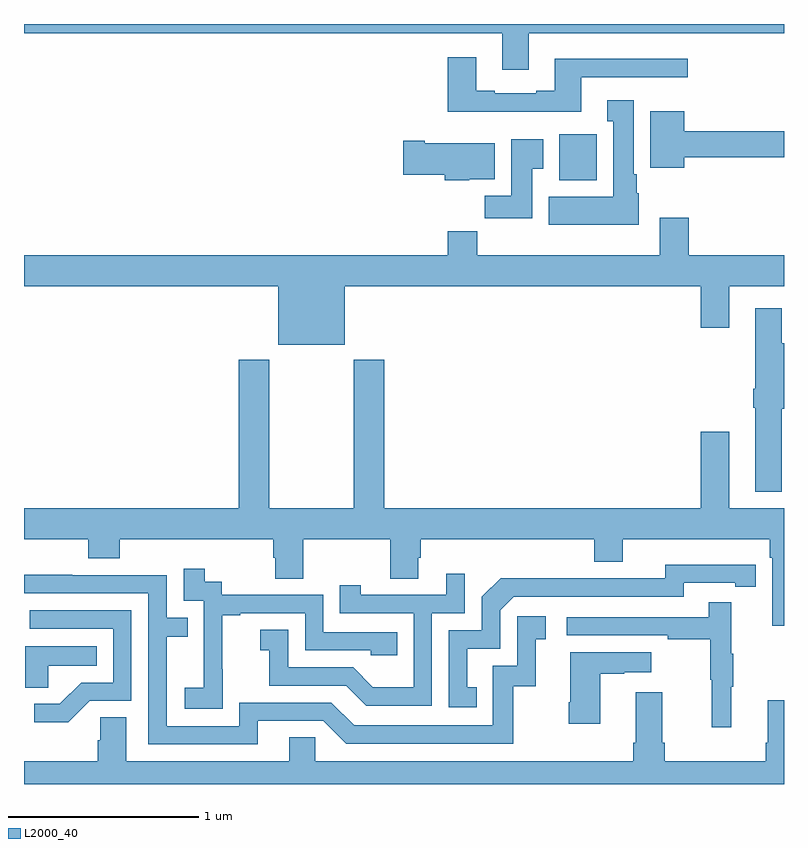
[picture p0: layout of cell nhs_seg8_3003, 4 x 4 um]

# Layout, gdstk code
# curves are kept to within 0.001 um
import gdstk
lib = gdstk.Library(unit=1e-6, precision=1e-09)
def R(c, l, rs):  # rectangles x0, y0, x1, y1
    for r in rs: c.add(gdstk.rectangle(r[:2], r[2:], *l))
def P(c, l, *ps):  # polygons
    for p in ps: c.add(gdstk.Polygon(p, *l))
L2000_40 = (2000, 40)

nhs_seg8_3003 = lib.new_cell('nhs_seg8_3003')
R(nhs_seg8_3003, L2000_40, [(301.817,1097.078,302.014,1097.32)])
P(nhs_seg8_3003, L2000_40, [(303,1097.9),(299,1097.9),(299,1097.852),(301.517,1097.852),(301.517,1097.658),(301.657,1097.658),(301.657,1097.852),(303,1097.852)],
  [(301.933,1097.619),(302.494,1097.619),(302.494,1097.716),(301.793,1097.716),(301.793,1097.548),(301.697,1097.548),(301.697,1097.535),(301.477,1097.535),(301.477,1097.548),(301.381,1097.548),(301.381,1097.725),(301.229,1097.725),(301.229,1097.438),(301.933,1097.438)],
  [(302.236,1097.01),(302.224,1097.01),(302.224,1097.11),(302.209,1097.11),(302.209,1097.5),(302.069,1097.5),(302.069,1097.387),(302.102,1097.387),(302.102,1096.99),(301.763,1096.99),(301.763,1096.844),(302.236,1096.844)],
  [(302.476,1097.2),(303,1097.2),(303,1097.336),(302.476,1097.336),(302.476,1097.44),(302.297,1097.44),(302.297,1097.144),(302.476,1097.144)],
  [(301.675,1097.137),(301.732,1097.137),(301.732,1097.293),(301.565,1097.293),(301.565,1096.996),(301.426,1096.996),(301.426,1096.878),(301.675,1096.878)],
  [(301.344,1097.084),(301.477,1097.084),(301.477,1097.272),(301.108,1097.272),(301.108,1097.285),(300.996,1097.285),(300.996,1097.107),(301.214,1097.107),(301.214,1097.078),(301.344,1097.078)],
  [(300.688,1096.52),(302.561,1096.52),(302.561,1096.302),(302.713,1096.302),(302.713,1096.52),(303,1096.52),(303,1096.684),(302.498,1096.684),(302.498,1096.879),(302.345,1096.879),(302.345,1096.684),(301.385,1096.684),(301.385,1096.808),(301.229,1096.808),(301.229,1096.684),(299,1096.684),(299,1096.52),(300.338,1096.52),(300.338,1096.211),(300.688,1096.211)],
  [(302.989,1095.875),(303,1095.875),(303,1096.219),(302.989,1096.219),(302.989,1096.405),(302.849,1096.405),(302.849,1095.979),(302.837,1095.979),(302.837,1095.879),(302.849,1095.879),(302.849,1095.437),(302.989,1095.437)],
  [(303,1095.352),(302.713,1095.352),(302.713,1095.754),(302.561,1095.754),(302.561,1095.352),(300.896,1095.352),(300.896,1096.132),(300.736,1096.132),(300.736,1095.352),(300.291,1095.352),(300.291,1096.132),(300.131,1096.132),(300.131,1095.352),(299,1095.352),(299,1095.188),(299.339,1095.188),(299.339,1095.089),(299.504,1095.089),(299.504,1095.188),(300.311,1095.188),(300.311,1095.09),(300.323,1095.09),(300.323,1094.98),(300.471,1094.98),(300.471,1095.188),(300.928,1095.188),(300.928,1094.98),(301.075,1094.98),(301.075,1095.09),(301.088,1095.09),(301.088,1095.188),(302,1095.188),(302,1095.071),(302.152,1095.071),(302.152,1095.188),(302.924,1095.188),(302.924,1095.092),(302.937,1095.092),(302.937,1094.733),(303,1094.733)],
  [(301.382,1094.409),(301.333,1094.409),(301.333,1094.613),(301.506,1094.613),(301.506,1094.814),(301.578,1094.886),(302.472,1094.886),(302.472,1094.958),(302.744,1094.958),(302.744,1094.938),(302.852,1094.938),(302.852,1095.054),(302.376,1095.055),(302.376,1094.982),(301.916,1094.982),(301.916,1094.984),(301.508,1094.984),(301.41,1094.886),(301.41,1094.709),(301.236,1094.709),(301.236,1094.304),(301.382,1094.304)],
  [(300.045,1094.503),(300.044,1094.503),(300.044,1094.787),(300.139,1094.787),(300.139,1094.799),(300.48,1094.799),(300.48,1094.604),(300.825,1094.604),(300.825,1094.577),(300.965,1094.577),(300.965,1094.7),(300.576,1094.7),(300.576,1094.895),(300.042,1094.895),(300.042,1094.964),(299.95,1094.964),(299.95,1095.034),(299.841,1095.034),(299.841,1094.865),(299.946,1094.865),(299.946,1094.636),(299.945,1094.636),(299.945,1094.407),(299.847,1094.407),(299.847,1094.297),(300.045,1094.297)],
  [(301.146,1094.799),(301.32,1094.799),(301.32,1095.007),(301.223,1095.007),(301.223,1094.895),(300.772,1094.895),(300.772,1094.947),(300.661,1094.947),(300.661,1094.799),(301.05,1094.799),(301.05,1094.41),(300.836,1094.41),(300.732,1094.514),(300.39,1094.514),(300.39,1094.713),(300.243,1094.713),(300.243,1094.603),(300.292,1094.603),(300.292,1094.418),(300.695,1094.418),(300.8,1094.313),(301.146,1094.313)],
  [(300.229,1094.232),(300.576,1094.232),(300.696,1094.112),(301.576,1094.112),(301.576,1094.415),(301.694,1094.415),(301.694,1094.661),(301.747,1094.661),(301.747,1094.782),(301.596,1094.782),(301.596,1094.523),(301.467,1094.523),(301.467,1094.208),(300.738,1094.208),(300.618,1094.328),(300.132,1094.328),(300.132,1094.205),(299.751,1094.205),(299.751,1094.674),(299.861,1094.674),(299.861,1094.775),(299.751,1094.775),(299.751,1095),(299.255,1095),(299.255,1095.002),(299,1095.002),(299,1094.904),(299.655,1094.904),(299.655,1094.109),(300.229,1094.109)],
  [(302.723,1094.411),(302.734,1094.411),(302.734,1094.585),(302.723,1094.585),(302.723,1094.857),(302.605,1094.857),(302.605,1094.778),(301.857,1094.778),(301.857,1094.682),(302.389,1094.682),(302.389,1094.662),(302.613,1094.662),(302.613,1094.448),(302.62,1094.448),(302.62,1094.199),(302.723,1094.199)],
  [(299.346,1094.337),(299.565,1094.337),(299.565,1094.814),(299.031,1094.814),(299.031,1094.718),(299.469,1094.718),(299.469,1094.433),(299.3,1094.433),(299.189,1094.322),(299.055,1094.322),(299.055,1094.225),(299.233,1094.225)],
  [(299.127,1094.522),(299.384,1094.522),(299.384,1094.626),(299.006,1094.626),(299.006,1094.407),(299.127,1094.407)],
  [(302.032,1094.479),(302.159,1094.479),(302.159,1094.489),(302.302,1094.489),(302.302,1094.593),(301.874,1094.593),(301.874,1094.329),(301.867,1094.329),(301.867,1094.217),(302.032,1094.217)],
  [(303,1094.341),(302.915,1094.341),(302.915,1094.116),(302.903,1094.116),(302.903,1094.02),(302.372,1094.02),(302.372,1094.116),(302.359,1094.116),(302.359,1094.383),(302.219,1094.383),(302.219,1094.116),(302.207,1094.116),(302.207,1094.02),(300.534,1094.02),(300.534,1094.147),(300.395,1094.147),(300.395,1094.02),(299.539,1094.02),(299.539,1094.252),(299.4,1094.252),(299.4,1094.129),(299.387,1094.129),(299.387,1094.02),(299,1094.02),(299,1093.9),(303,1093.9)])

lib.write_gds('nhs_seg8_3003.gds')
